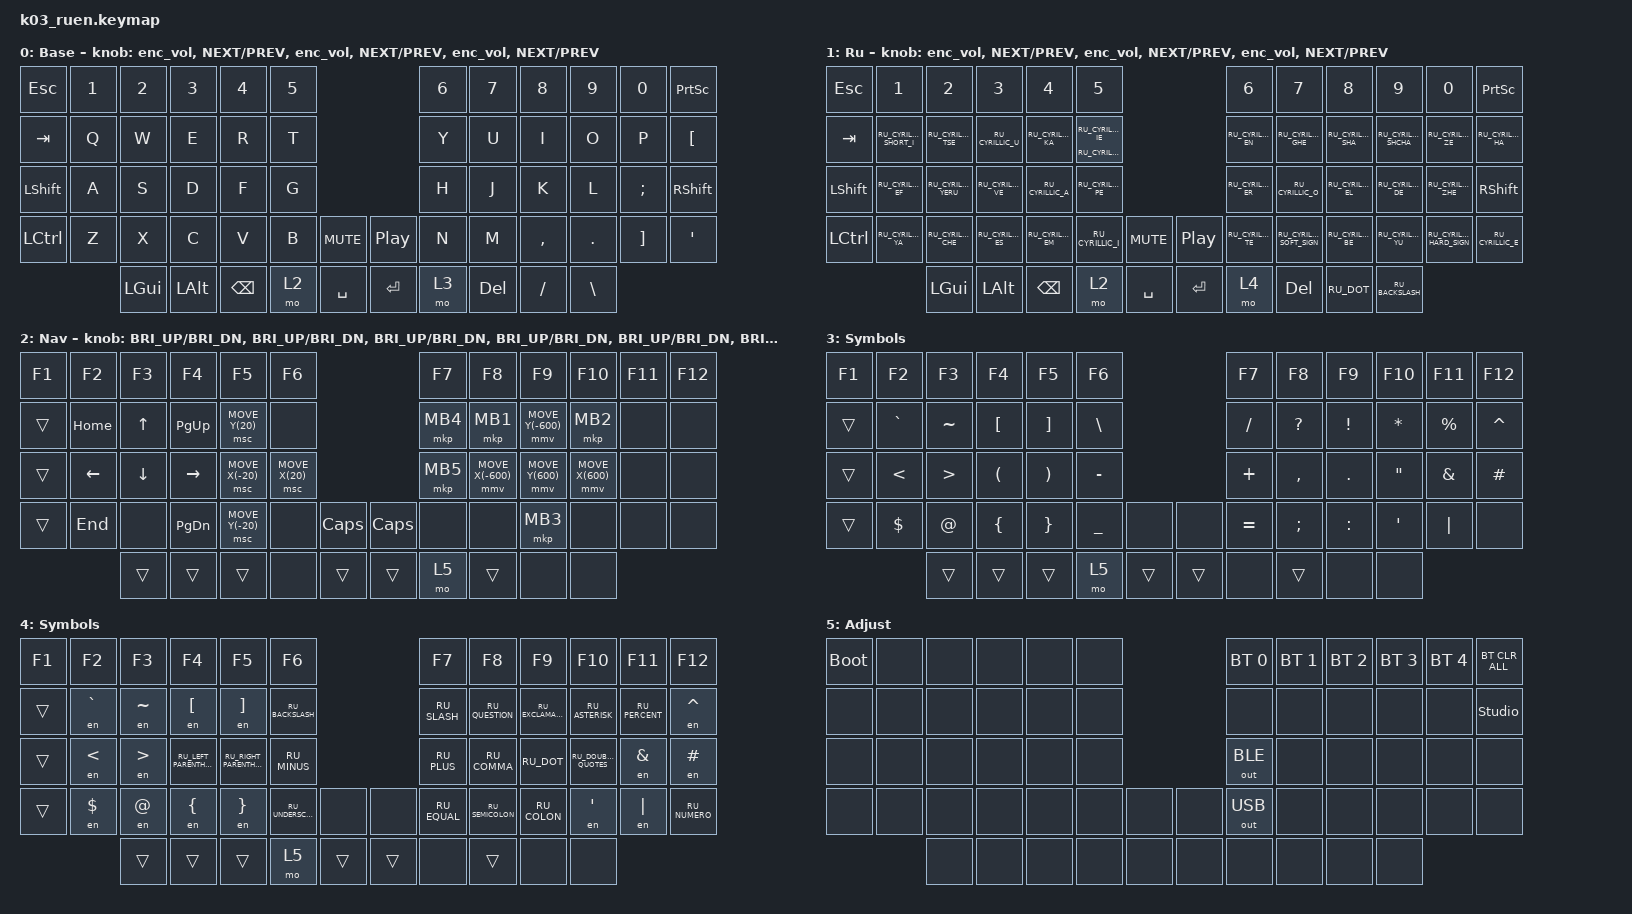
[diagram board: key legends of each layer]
#include "keys_ru.h"
#include <behaviors.dtsi>
#include <dt-bindings/zmk/bt.h>
#include <dt-bindings/zmk/keys.h>
#include <dt-bindings/zmk/outputs.h>
#include <dt-bindings/zmk/pointing.h>

/ {
    behaviors {
        enc_vol: enc_vol {
            compatible = "zmk,behavior-sensor-rotate";
            label = "ENC_VOL";
            #sensor-binding-cells = <0>;
            bindings = <&kp C_VOL_UP>, <&kp C_VOL_DN>;
        };
    };

    combos {
        compatible = "zmk,combos";

        cmben {
            bindings = <&layer_en>;
            key-positions = <15 16>;
            layers = <1>;
        };

        cmbru {
            bindings = <&layer_ru>;
            key-positions = <15 16>;
            layers = <0>;
        };
    };

    macros {
        to_ru: to_ru {
            compatible = "zmk,behavior-macro";
            #binding-cells = <0>;
            bindings = <&kp LS(LC(N2))>;
            label = "TO_RU";
            wait-ms = <0>;
            tap-ms = <30>;
        };

        to_en: to_en {
            compatible = "zmk,behavior-macro";
            #binding-cells = <0>;
            bindings = <&kp LS(LC(N1))>;
            label = "TO_EN";
            wait-ms = <0>;
            tap-ms = <30>;
        };

        layer_en: layer_en {
            compatible = "zmk,behavior-macro";
            #binding-cells = <0>;
            bindings = <&to 0 &to_en>;
            label = "LAYER_EN";
            wait-ms = <0>;
            tap-ms = <30>;
        };

        layer_ru: layer_ru {
            compatible = "zmk,behavior-macro";
            #binding-cells = <0>;
            bindings = <&to 1 &to_ru>;
            label = "LAYER_RU";
            tap-ms = <30>;
            wait-ms = <0>;
        };

        en: en {
            compatible = "zmk,behavior-macro-one-param";
            #binding-cells = <1>;
            bindings =
                <&to_en>,
                <&macro_press>,
                <&macro_param_1to1 &kp MACRO_PLACEHOLDER>,
                <&macro_pause_for_release>,
                <&macro_release>,
                <&macro_param_1to1 &kp MACRO_PLACEHOLDER>,
                <&macro_tap>,
                <&to_ru>;

            label = "EN";
            wait-ms = <0>;
            tap-ms = <30>;
        };
    };

    keymap {
        compatible = "zmk,keymap";

        en {
            bindings = <
&kp ESC     &kp N1  &kp N2    &kp N3    &kp N4         &kp N5                           &kp N6  &kp N7      &kp N8     &kp N9    &kp N0             &kp PRINTSCREEN
&kp TAB     &kp Q   &kp W     &kp E     &kp R          &kp T                            &kp Y   &kp U       &kp I      &kp O     &kp P              &kp LEFT_BRACKET
&kp LSHIFT  &kp A   &kp S     &kp D     &kp F          &kp G                            &kp H   &kp J       &kp K      &kp L     &kp SEMI           &kp RSHFT
&kp LCTRL   &kp Z   &kp X     &kp C     &kp V          &kp B   &kp C_MUTE    &kp C_PP   &kp N   &kp M       &kp COMMA  &kp DOT   &kp RIGHT_BRACKET  &kp SQT
                    &kp LGUI  &kp LALT  &kp BACKSPACE  &mo 2   &kp SPACE     &kp ENTER  &mo 3   &kp DELETE  &kp FSLH   &kp BSLH
            >;

            display-name = "Base";
            sensor-bindings =
                <&enc_vol>,
                <&inc_dec_kp C_NEXT C_PREV>,
                <&enc_vol>,
                <&inc_dec_kp C_NEXT C_PREV>,
                <&enc_vol>,
                <&inc_dec_kp C_NEXT C_PREV>;
        };

        ru {
            display-name = "Ru";
            bindings = <
&kp ESC    &kp N1                   &kp N2                &kp N3              &kp N4              &kp N5                                                      &kp N6              &kp N7                     &kp N8               &kp N9                 &kp N0                     &kp PRINTSCREEN
&kp TAB    &kp RU_CYRILLIC_SHORT_I  &kp RU_CYRILLIC_TSE   &kp RU_CYRILLIC_U   &kp RU_CYRILLIC_KA  &mt RU_CYRILLIC_IO RU_CYRILLIC_IE                           &kp RU_CYRILLIC_EN  &kp RU_CYRILLIC_GHE        &kp RU_CYRILLIC_SHA  &kp RU_CYRILLIC_SHCHA  &kp RU_CYRILLIC_ZE         &kp RU_CYRILLIC_HA
&kp LSHFT  &kp RU_CYRILLIC_EF       &kp RU_CYRILLIC_YERU  &kp RU_CYRILLIC_VE  &kp RU_CYRILLIC_A   &kp RU_CYRILLIC_PE                                          &kp RU_CYRILLIC_ER  &kp RU_CYRILLIC_O          &kp RU_CYRILLIC_EL   &kp RU_CYRILLIC_DE     &kp RU_CYRILLIC_ZHE        &kp RSHFT
&kp LCTRL  &kp RU_CYRILLIC_YA       &kp RU_CYRILLIC_CHE   &kp RU_CYRILLIC_ES  &kp RU_CYRILLIC_EM  &kp RU_CYRILLIC_I                  &kp C_MUTE    &kp C_PP   &kp RU_CYRILLIC_TE  &kp RU_CYRILLIC_SOFT_SIGN  &kp RU_CYRILLIC_BE   &kp RU_CYRILLIC_YU     &kp RU_CYRILLIC_HARD_SIGN  &kp RU_CYRILLIC_E
                                    &kp LGUI              &kp LALT            &kp BACKSPACE       &mo 2                              &kp SPACE     &kp ENTER  &mo 4               &kp DELETE                 &kp RU_DOT           &kp RU_BACKSLASH
            >;

            sensor-bindings =
                <&enc_vol>,
                <&inc_dec_kp C_NEXT C_PREV>,
                <&enc_vol>,
                <&inc_dec_kp C_NEXT C_PREV>,
                <&enc_vol>,
                <&inc_dec_kp C_NEXT C_PREV>;
        };

        nav {
            bindings = <
&kp F1  &kp F2    &kp F3    &kp F4     &kp F5            &kp F6                                         &kp F7    &kp F8             &kp F9             &kp F10           &kp F11  &kp F12
&trans  &kp HOME  &kp UP    &kp PG_UP  &msc MOVE_Y(20)   &none                                          &mkp MB4  &mkp MB1           &mmv MOVE_Y(-600)  &mkp MB2          &none    &none
&trans  &kp LEFT  &kp DOWN  &kp RIGHT  &msc MOVE_X(-20)  &msc MOVE_X(20)                                &mkp MB5  &mmv MOVE_X(-600)  &mmv MOVE_Y(600)   &mmv MOVE_X(600)  &none    &none
&trans  &kp END   &none     &kp PG_DN  &msc MOVE_Y(-20)  &none            &kp CAPSLOCK    &kp CAPSLOCK  &none     &none              &mkp MB3           &none             &none    &none
                  &trans    &trans     &trans            &none            &trans          &trans        &mo 5     &trans             &none              &none
            >;

            display-name = "Nav";
            sensor-bindings =
                <&inc_dec_kp C_BRI_UP C_BRI_DN>,
                <&inc_dec_kp C_BRI_UP C_BRI_DN>,
                <&inc_dec_kp C_BRI_UP C_BRI_DN>,
                <&inc_dec_kp C_BRI_UP C_BRI_DN>,
                <&inc_dec_kp C_BRI_UP C_BRI_DN>,
                <&inc_dec_kp C_BRI_UP C_BRI_DN>;
        };

        sym_en {
            bindings = <
&kp F1  &kp F2         &kp F3            &kp F4                &kp F5                 &kp F6                            &kp F7     &kp F8         &kp F9           &kp F10            &kp F11        &kp F12
&trans  &kp GRAVE      &kp TILDE         &kp LEFT_BRACKET      &kp RIGHT_BRACKET      &kp BACKSLASH                     &kp SLASH  &kp QUESTION   &kp EXCLAMATION  &kp ASTERISK       &kp PERCENT    &kp CARET
&trans  &kp LESS_THAN  &kp GREATER_THAN  &kp LEFT_PARENTHESIS  &kp RIGHT_PARENTHESIS  &kp MINUS                         &kp PLUS   &kp COMMA      &kp DOT          &kp DOUBLE_QUOTES  &kp AMPERSAND  &kp HASH
&trans  &kp DOLLAR     &kp AT_SIGN       &kp LEFT_BRACE        &kp RIGHT_BRACE        &kp UNDERSCORE  &none     &none   &kp EQUAL  &kp SEMICOLON  &kp COLON        &kp SINGLE_QUOTE   &kp PIPE       &none
                       &trans            &trans                &trans                 &mo 5           &trans    &trans  &none      &trans         &none            &none
            >;

            display-name = "Symbols";
        };

        sym_ru {
            display-name = "Symbols";
            bindings = <
&kp F1  &kp F2         &kp F3            &kp F4                   &kp F5                    &kp F6                               &kp F7        &kp F8            &kp F9              &kp F10               &kp F11         &kp F12
&trans  &en GRAVE      &en TILDE         &en LEFT_BRACKET         &en RIGHT_BRACKET         &kp RU_BACKSLASH                     &kp RU_SLASH  &kp RU_QUESTION   &kp RU_EXCLAMATION  &kp RU_ASTERISK       &kp RU_PERCENT  &en CARET
&trans  &en LESS_THAN  &en GREATER_THAN  &kp RU_LEFT_PARENTHESIS  &kp RU_RIGHT_PARENTHESIS  &kp RU_MINUS                         &kp RU_PLUS   &kp RU_COMMA      &kp RU_DOT          &kp RU_DOUBLE_QUOTES  &en AMPERSAND   &en HASH
&trans  &en DOLLAR     &en AT_SIGN       &en LEFT_BRACE           &en RIGHT_BRACE           &kp RU_UNDERSCORE  &none     &none   &kp RU_EQUAL  &kp RU_SEMICOLON  &kp RU_COLON        &en SINGLE_QUOTE      &en PIPE        &kp RU_NUMERO
                       &trans            &trans                   &trans                    &mo 5              &trans    &trans  &none         &trans            &none               &none
            >;
        };

        adj {
            bindings = <
&bootloader  &none  &none  &none  &none  &none                  &bt BT_SEL 0  &bt BT_SEL 1  &bt BT_SEL 2  &bt BT_SEL 3  &bt BT_SEL 4  &bt BT_CLR_ALL
&none        &none  &none  &none  &none  &none                  &none         &none         &none         &none         &none         &studio_unlock
&none        &none  &none  &none  &none  &none                  &out OUT_BLE  &none         &none         &none         &none         &none
&none        &none  &none  &none  &none  &none  &none    &none  &out OUT_USB  &none         &none         &none         &none         &none
                    &none  &none  &none  &none  &none    &none  &none         &none         &none         &none
            >;

            display-name = "Adjust";
        };
    };
};
